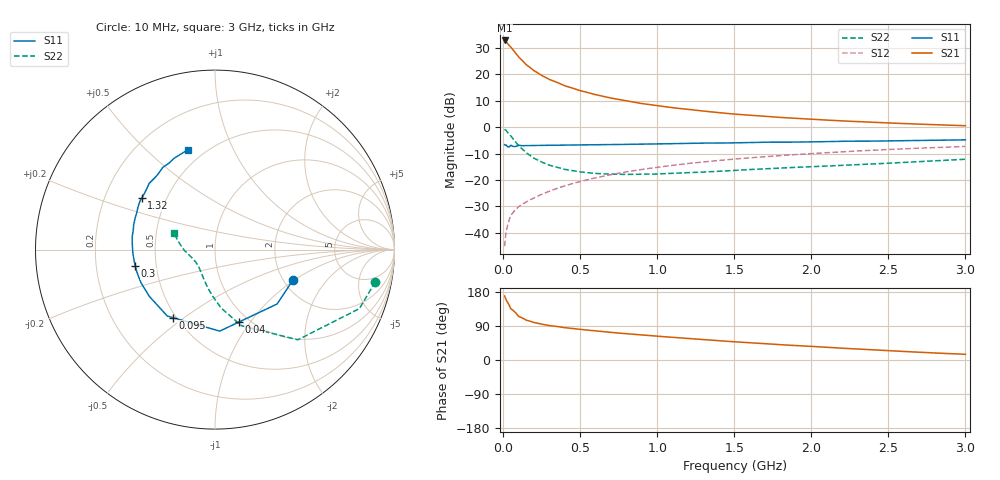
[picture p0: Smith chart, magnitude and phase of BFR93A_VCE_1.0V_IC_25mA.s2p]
! Infineon Technologies  Discrete & RF Semiconductors
! BFR93A
! VCE =  1.0 V,  IC =  25 mA
! Common Emitter S-Parameters:  Nov 2015
# GHz  S  MA  R  50
!  f  S11  S21  S12  S22
! GHz  MAG  ANG  MAG  ANG  MAG  ANG  MAG  ANG
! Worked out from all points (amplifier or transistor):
!   180 points, 10 MHz to 3 GHz, reference 50 ohm
!   highest |S21| = 32.8 dB at 10 MHz (marker M1)
!   |S21| within 3 dB of that: start of sweep to 56.92 MHz
!   unconditionally stable (mu >= 1): 316.7 MHz to end of sweep
!   at 160 MHz: K = 0.80, MSG = 25.6 dB, |S12| = -28.0 dB
!   at 1.22 GHz: K = 1.10, MAG = 8.2 dB, |S12| = -13.6 dB
!   at 3 GHz: K = 1.03, MAG = 2.9 dB, |S12| = -7.3 dB
!   S11 on the Smith chart (normalised r, x): 10 MHz: 2.25, -0.97; 40 MHz: 0.90, -0.88; 95 MHz: 0.48, -0.45; 300 MHz: 0.38, -0.09; 1.32 GHz: 0.36, +0.28; 3 GHz: 0.41, +0.68
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0.01  0.4663 -21.3  43.74 168.8  0.0056 81.1  0.9109 -11.4
0.02  0.46 -41.2  41.59 158.6  0.0106 74.9  0.8692 -22.2
0.04  0.4251 -71.8  34.97 144.3  0.0177 65.2  0.7278 -37.6
0.05  0.455 -86.7  32.7 135.3  0.0214 62.8  0.6826 -47.4
0.095  0.4463 -122.0  22.3 118.1  0.0302 57.4  0.467 -67.6
0.1  0.4556 -125.7  21.33 115.2  0.0312 57.0  0.4485 -70.9
0.15  0.4494 -144.7  15.24 105.1  0.0384 58.4  0.3274 -84.0
0.2  0.4516 -155.8  11.77 99.0  0.0458 60.8  0.2593 -93.0
0.24  0.452 -161.8  9.976 95.5  0.0519 62.4  0.2263 -98.7
0.26  0.4529 -164.3  9.23 93.8  0.055 63.0  0.2128 -101.5
0.3  0.4543 -168.5  8.02 90.9  0.0613 64.2  0.1909 -106.5
0.4  0.4578 -177.0  6.079 85.3  0.0773 66.1  0.159 -117.0
0.52  0.4631 175.2  4.754 80.0  0.0969 66.5  0.1405 -126.3
0.6  0.4671 171.1  4.124 76.6  0.1099 66.3  0.1332 -132.5
0.7  0.4678 166.9  3.553 72.7  0.1264 65.8  0.1291 -138.7
0.8  0.474 162.8  3.134 69.2  0.1425 65.1  0.1276 -144.6
1.02  0.4827 154.5  2.503 62.2  0.1773 62.3  0.1308 -154.6
1.32  0.4996 145.0  1.987 53.1  0.2226 58.3  0.1424 -165.5
1.52  0.5062 139.6  1.752 47.6  0.2517 55.5  0.1531 -171.4
2.02  0.5276 126.8  1.401 35.5  0.3188 48.2  0.1794 177.6
2.52  0.5518 115.9  1.196 24.3  0.3805 40.4  0.2093 167.5
3  0.5756 105.2  1.066 15.0  0.4319 33.0  0.2471 157.6
